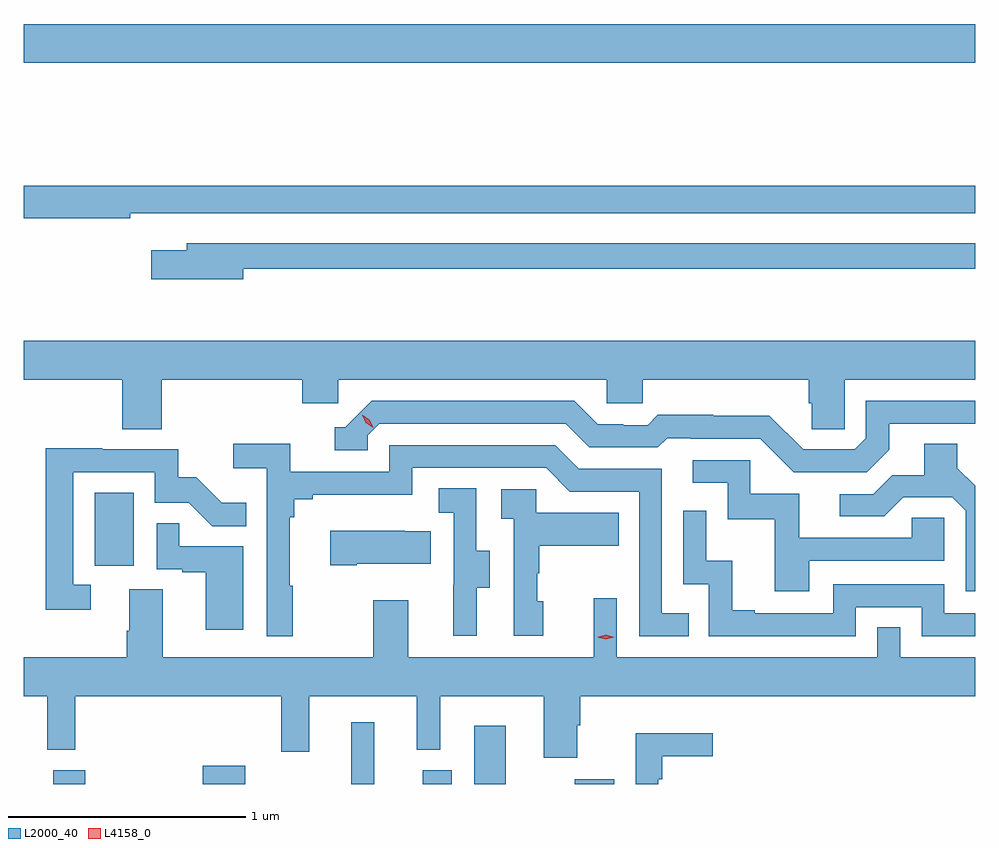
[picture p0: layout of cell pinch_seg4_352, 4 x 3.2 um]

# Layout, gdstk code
import gdstk
lib = gdstk.Library(unit=1e-6, precision=1e-09)
def R(c, l, rs):  # rectangles x0, y0, x1, y1
    for r in rs: c.add(gdstk.rectangle(r[:2], r[2:], *l))
def P(c, l, *ps):  # polygons
    for p in ps: c.add(gdstk.Polygon(p, *l))
L2000_40 = (2000, 40)
L4158_0 = (4158, 0)

pinch_seg4_352 = lib.new_cell('pinch_seg4_352')
R(pinch_seg4_352, L2000_40, [(994.094,792.456,994.229,792.514), (994.724,792.456,994.902,792.532), (995.348,792.456,995.445,792.715), (995.648,792.456,995.77,792.514), (995.864,792.456,995.998,792.7), (996.287,792.456,996.454,792.475), (994.268,793.374,994.432,793.681), (993.971,795.488,997.971,795.652)])
P(pinch_seg4_352, L2000_40, [(994.418,794.856),(997.971,794.856),(997.971,794.972),(993.971,794.972),(993.971,794.836),(994.418,794.836)],
  [(994.894,794.622),(997.971,794.622),(997.971,794.73),(994.655,794.73),(994.655,794.701),(994.506,794.701),(994.506,794.579),(994.894,794.579)],
  [(994.55,794.156),(995.141,794.156),(995.141,794.058),(995.292,794.058),(995.292,794.156),(996.423,794.156),(996.423,794.058),(996.573,794.058),(996.573,794.156),(997.271,794.156),(997.271,794.058),(997.285,794.058),(997.285,793.948),(997.422,793.948),(997.422,794.156),(997.971,794.156),(997.971,794.32),(993.971,794.32),(993.971,794.156),(994.385,794.156),(994.385,793.948),(994.55,793.948)],
  [(997.609,793.861),(997.609,793.971),(997.971,793.971),(997.971,794.067),(997.512,794.067),(997.512,793.911),(997.464,793.863),(997.248,793.863),(997.106,794.005),(996.87,794.005),(996.87,794.008),(996.637,794.008),(996.595,793.965),(996.492,793.965),(996.492,793.968),(996.385,793.968),(996.286,794.067),(995.433,794.067),(995.322,793.956),(995.279,793.956),(995.279,793.86),(995.418,793.86),(995.418,793.923),(995.466,793.971),(996.249,793.971),(996.348,793.872),(996.637,793.872),(996.676,793.911),(996.775,793.911),(996.775,793.908),(997.068,793.908),(997.209,793.767),(997.515,793.767)],
  [(997.971,793.71),(997.897,793.784),(997.897,793.886),(997.757,793.886),(997.757,793.754),(997.622,793.754),(997.542,793.674),(997.401,793.674),(997.401,793.581),(997.588,793.581),(997.669,793.662),(997.875,793.662),(997.932,793.605),(997.932,793.266),(997.971,793.266)],
  [(995.101,793.289),(995.089,793.289),(995.089,793.577),(995.108,793.577),(995.108,793.654),(995.185,793.654),(995.185,793.673),(995.604,793.673),(995.604,793.785),(996.168,793.785),(996.267,793.686),(996.558,793.686),(996.558,793.077),(996.767,793.077),(996.767,793.173),(996.654,793.173),(996.654,793.782),(996.304,793.782),(996.205,793.881),(995.508,793.881),(995.508,793.77),(995.09,793.77),(995.09,793.886),(994.851,793.886),(994.851,793.784),(994.992,793.784),(994.992,793.077),(995.101,793.077)],
  [(994.252,793.293),(994.179,793.293),(994.179,793.767),(994.521,793.767),(994.521,793.638),(994.665,793.638),(994.763,793.54),(994.907,793.54),(994.907,793.639),(994.803,793.639),(994.696,793.746),(994.62,793.746),(994.62,793.863),(994.301,793.863),(994.301,793.868),(994.063,793.868),(994.063,793.188),(994.252,793.188)],
  [(997.273,793.395),(997.842,793.395),(997.842,793.575),(997.705,793.575),(997.705,793.491),(997.231,793.491),(997.231,793.677),(997.026,793.677),(997.026,793.818),(996.783,793.818),(996.783,793.722),(996.93,793.722),(996.93,793.569),(997.129,793.569),(997.129,793.266),(997.273,793.266)],
  [(995.875,793.282),(995.929,793.282),(995.929,793.437),(995.874,793.437),(995.874,793.7),(995.715,793.7),(995.715,793.597),(995.778,793.597),(995.778,793.293),(995.777,793.293),(995.777,793.08),(995.875,793.08)],
  [(996.154,793.224),(996.129,793.224),(996.129,793.343),(996.139,793.343),(996.139,793.457),(996.473,793.457),(996.473,793.597),(996.126,793.597),(996.126,793.695),(995.979,793.695),(995.979,793.571),(996.03,793.571),(996.03,793.08),(996.154,793.08)],
  [(997.47,793.2),(997.746,793.2),(997.746,793.077),(997.971,793.077),(997.971,793.173),(997.842,793.173),(997.842,793.296),(997.374,793.296),(997.374,793.173),(997.045,793.173),(997.045,793.186),(996.95,793.186),(996.95,793.394),(996.84,793.394),(996.84,793.606),(996.744,793.606),(996.744,793.296),(996.852,793.296),(996.852,793.077),(997.47,793.077)],
  [(994.894,793.455),(994.625,793.455),(994.625,793.553),(994.53,793.553),(994.53,793.359),(994.637,793.359),(994.637,793.347),(994.736,793.347),(994.736,793.104),(994.894,793.104)],
  [(995.371,793.382),(995.681,793.382),(995.681,793.519),(995.573,793.519),(995.573,793.522),(995.259,793.522),(995.259,793.375),(995.371,793.375)],
  [(996.298,792.704),(996.311,792.704),(996.311,792.824),(997.971,792.824),(997.971,792.988),(997.656,792.988),(997.656,793.115),(997.56,793.115),(997.56,792.988),(996.465,792.988),(996.465,793.237),(996.368,793.237),(996.368,792.988),(995.587,792.988),(995.587,793.228),(995.44,793.228),(995.44,792.988),(994.555,792.988),(994.555,793.274),(994.415,793.274),(994.415,793.1),(994.403,793.1),(994.403,792.988),(993.971,792.988),(993.971,792.824),(994.07,792.824),(994.07,792.599),(994.187,792.599),(994.187,792.824),(995.053,792.824),(995.053,792.591),(995.171,792.591),(995.171,792.824),(995.624,792.824),(995.624,792.599),(995.722,792.599),(995.722,792.824),(996.158,792.824),(996.158,792.567),(996.298,792.567)],
  [(996.639,792.476),(996.655,792.476),(996.655,792.572),(996.868,792.572),(996.868,792.67),(996.543,792.67),(996.543,792.456),(996.639,792.456)])
P(pinch_seg4_352, L4158_0, [(996.417,793.064),(996.382,793.074),(996.382,793.074),(996.382,793.074),(996.417,793.084),(996.453,793.074),(996.453,793.074),(996.453,793.074)],
  [(995.44,793.955),(995.409,793.975),(995.393,794.008),(995.393,794.008),(995.394,794.008),(995.424,793.988),(995.44,793.956),(995.44,793.955)])

lib.write_gds('pinch_seg4_352.gds')
